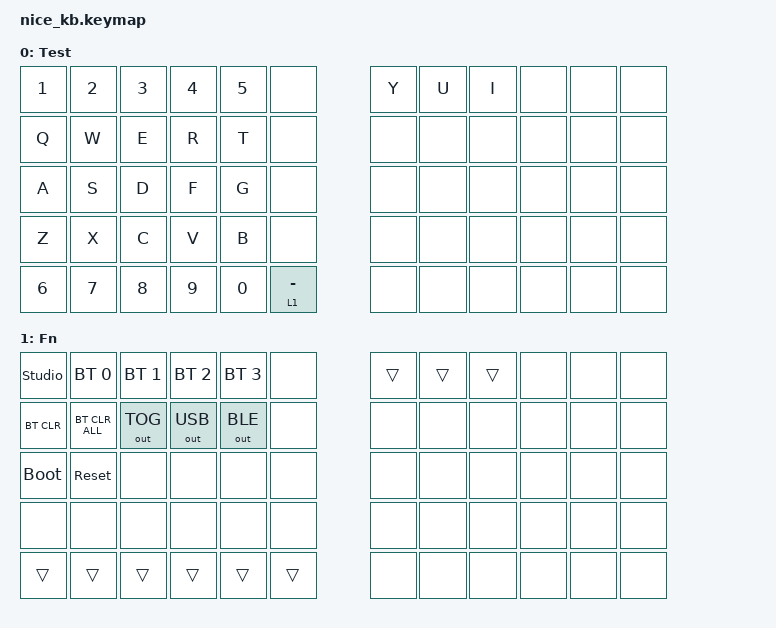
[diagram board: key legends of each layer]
/*
 * nice_kb TEST keymap — assembly validation, not a daily-driver layout.
 *
 * Every wired key sends a unique character so a matrix fault shows up as a
 * specific missing/duplicated character in a text editor.
 *
 * Grid is the 5x12 placeholder transform: left = cols 0-5, right = cols 6-11.
 *
 * Left half (26 keys wired):        Right half (3 keys wired):
 *   r1  1 2 3 4 5  .                  r1  Y U I . . .
 *   r2  Q W E R T  .                  r2-r5 unwired
 *   r3  A S D F G  .
 *   r4  Z X C V B  .
 *   r5  6 7 8 9 0  -   <- col6, the lone key: tap = "-", hold = fn layer
 *
 * Unwired matrix cells are &none.
 */

#include <behaviors.dtsi>
#include <dt-bindings/zmk/keys.h>
#include <dt-bindings/zmk/bt.h>
#include <dt-bindings/zmk/outputs.h>

/ {
    keymap {
        compatible = "zmk,keymap";

        default_layer {
            display-name = "Test";
            bindings = <
/* r1 */  &kp N1  &kp N2  &kp N3  &kp N4  &kp N5  &none          &kp Y  &kp U  &kp I  &none  &none  &none
/* r2 */  &kp Q   &kp W   &kp E   &kp R   &kp T   &none          &none  &none  &none  &none  &none  &none
/* r3 */  &kp A   &kp S   &kp D   &kp F   &kp G   &none          &none  &none  &none  &none  &none  &none
/* r4 */  &kp Z   &kp X   &kp C   &kp V   &kp B   &none          &none  &none  &none  &none  &none  &none
/* r5 */  &kp N6  &kp N7  &kp N8  &kp N9  &kp N0  &lt 1 MINUS    &none  &none  &none  &none  &none  &none
            >;
        };

        fn_layer {
            display-name = "Fn";
            /* Reached by holding the lone left col6 key (r5c6).
               Right-half keys stay &trans so you can confirm the split link is
               still alive while the layer is held: they keep typing Y U I. */
            bindings = <
/* r1 */  &studio_unlock  &bt BT_SEL 0    &bt BT_SEL 1  &bt BT_SEL 2  &bt BT_SEL 3  &none    &trans  &trans  &trans  &none  &none  &none
/* r2 */  &bt BT_CLR      &bt BT_CLR_ALL  &out OUT_TOG  &out OUT_USB  &out OUT_BLE  &none    &none   &none   &none   &none  &none  &none
/* r3 */  &bootloader     &sys_reset      &none         &none         &none         &none    &none   &none   &none   &none  &none  &none
/* r4 */  &none           &none           &none         &none         &none         &none    &none   &none   &none   &none  &none  &none
/* r5 */  &trans          &trans          &trans        &trans        &trans        &trans   &none   &none   &none   &none  &none  &none
            >;
        };
    };
};
